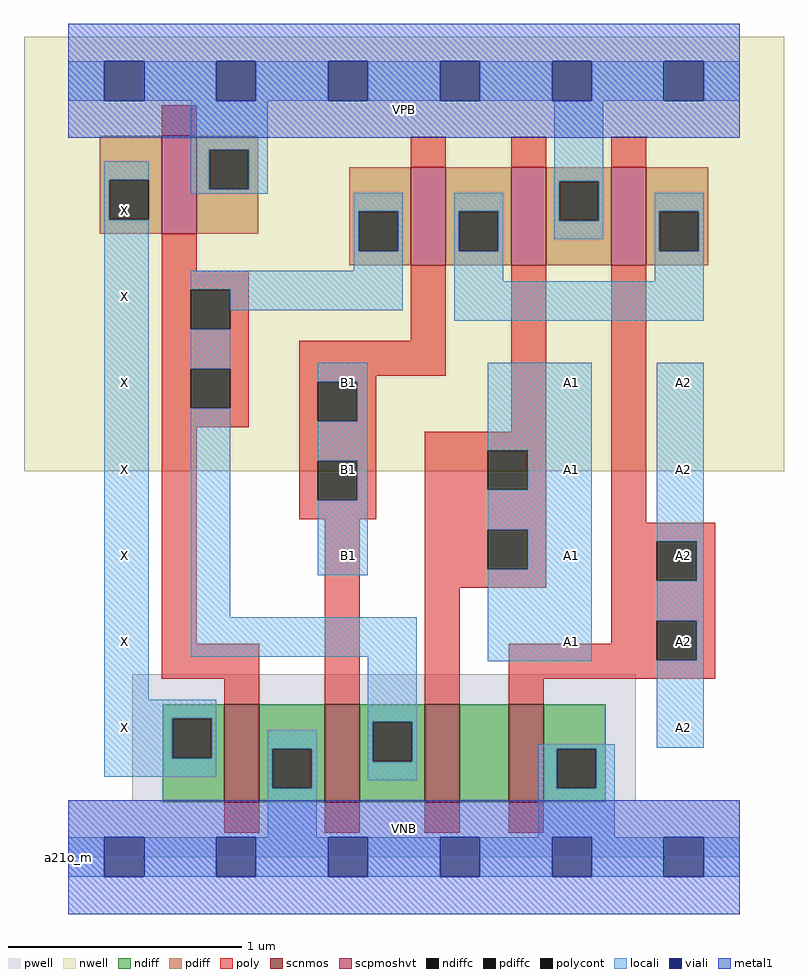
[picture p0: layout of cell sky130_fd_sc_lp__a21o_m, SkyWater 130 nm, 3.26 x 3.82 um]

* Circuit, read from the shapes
.subckt sky130_fd_sc_lp__a21o_m A1 A2 B1 VGND VNB VPB VPWR X
XM1 VGND n1 X VNB sky130_fd_pr__nfet_01v8 w=0.42 l=0.15
XM2 n1 B1 VGND VNB sky130_fd_pr__nfet_01v8 w=0.42 l=0.15
XM3 n2 A1 n1 VNB sky130_fd_pr__nfet_01v8 w=0.42 l=0.15
XM4 VGND A2 n2 VNB sky130_fd_pr__nfet_01v8 w=0.42 l=0.15
XM5 VPWR n1 X VPB sky130_fd_pr__pfet_01v8_hvt w=0.42 l=0.15
XM6 n3 B1 n1 VPB sky130_fd_pr__pfet_01v8_hvt w=0.42 l=0.15
XM7 VPWR A1 n3 VPB sky130_fd_pr__pfet_01v8_hvt w=0.42 l=0.15
XM8 n3 A2 VPWR VPB sky130_fd_pr__pfet_01v8_hvt w=0.42 l=0.15
.ends

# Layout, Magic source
magic
tech sky130A
magscale 1 2
<< nwell >>
rect -38 331 614 704
<< pwell >>
rect 55 49 487 157
rect 0 0 576 49
<< scnmos >>
rect 134 47 164 131
rect 220 47 250 131
rect 306 47 336 131
rect 378 47 408 131
<< scpmoshvt >>
rect 80 535 110 619
rect 294 508 324 592
rect 380 508 410 592
rect 466 508 496 592
<< ndiff >>
rect 81 119 134 131
rect 81 85 89 119
rect 123 85 134 119
rect 81 47 134 85
rect 164 93 220 131
rect 164 59 175 93
rect 209 59 220 93
rect 164 47 220 59
rect 250 116 306 131
rect 250 82 261 116
rect 295 82 306 116
rect 250 47 306 82
rect 336 47 378 131
rect 408 93 461 131
rect 408 59 419 93
rect 453 59 461 93
rect 408 47 461 59
<< pdiff >>
rect 27 581 80 619
rect 27 547 35 581
rect 69 547 80 581
rect 27 535 80 547
rect 110 607 163 619
rect 110 573 121 607
rect 155 573 163 607
rect 110 535 163 573
rect 241 554 294 592
rect 241 520 249 554
rect 283 520 294 554
rect 241 508 294 520
rect 324 554 380 592
rect 324 520 335 554
rect 369 520 380 554
rect 324 508 380 520
rect 410 580 466 592
rect 410 546 421 580
rect 455 546 466 580
rect 410 508 466 546
rect 496 554 549 592
rect 496 520 507 554
rect 541 520 549 554
rect 496 508 549 520
<< ndiffc >>
rect 89 85 123 119
rect 175 59 209 93
rect 261 82 295 116
rect 419 59 453 93
<< pdiffc >>
rect 35 547 69 581
rect 121 573 155 607
rect 249 520 283 554
rect 335 520 369 554
rect 421 546 455 580
rect 507 520 541 554
<< poly >>
rect 80 619 110 645
rect 294 592 324 618
rect 380 592 410 618
rect 466 592 496 618
rect 80 503 110 535
rect 80 487 155 503
rect 80 453 105 487
rect 139 453 155 487
rect 80 419 155 453
rect 294 443 324 508
rect 80 385 105 419
rect 139 385 155 419
rect 80 369 155 385
rect 198 413 324 443
rect 198 408 264 413
rect 198 374 214 408
rect 248 374 264 408
rect 80 183 110 369
rect 198 340 264 374
rect 380 365 410 508
rect 198 306 214 340
rect 248 306 264 340
rect 198 290 264 306
rect 306 349 410 365
rect 306 315 360 349
rect 394 315 410 349
rect 80 153 164 183
rect 134 131 164 153
rect 220 131 250 290
rect 306 281 410 315
rect 306 247 360 281
rect 394 247 410 281
rect 306 231 410 247
rect 466 287 496 508
rect 466 271 555 287
rect 466 237 505 271
rect 539 237 555 271
rect 306 131 336 231
rect 466 203 555 237
rect 466 183 505 203
rect 378 169 505 183
rect 539 169 555 203
rect 378 153 555 169
rect 378 131 408 153
rect 134 21 164 47
rect 220 21 250 47
rect 306 21 336 47
rect 378 21 408 47
<< polycont >>
rect 105 453 139 487
rect 105 385 139 419
rect 214 374 248 408
rect 214 306 248 340
rect 360 315 394 349
rect 360 247 394 281
rect 505 237 539 271
rect 505 169 539 203
<< locali >>
rect 0 649 31 683
rect 65 649 127 683
rect 161 649 223 683
rect 257 649 319 683
rect 353 649 415 683
rect 449 649 511 683
rect 545 649 576 683
rect 105 607 171 649
rect 31 581 69 597
rect 31 547 35 581
rect 105 573 121 607
rect 155 573 171 607
rect 105 569 171 573
rect 417 580 459 649
rect 31 135 69 547
rect 245 554 287 570
rect 245 520 249 554
rect 283 520 287 554
rect 245 503 287 520
rect 105 487 287 503
rect 139 469 287 487
rect 331 554 373 570
rect 331 520 335 554
rect 369 520 373 554
rect 417 546 421 580
rect 455 546 459 580
rect 417 530 459 546
rect 503 554 545 570
rect 331 494 373 520
rect 503 520 507 554
rect 541 520 545 554
rect 503 494 545 520
rect 331 460 545 494
rect 105 419 139 453
rect 105 206 139 385
rect 214 408 257 424
rect 248 374 257 408
rect 214 340 257 374
rect 248 306 257 340
rect 214 242 257 306
rect 360 349 449 424
rect 394 315 449 349
rect 360 281 449 315
rect 394 247 449 281
rect 105 172 299 206
rect 31 119 127 135
rect 31 85 89 119
rect 123 85 127 119
rect 257 116 299 172
rect 360 168 449 247
rect 505 271 545 424
rect 539 237 545 271
rect 505 203 545 237
rect 539 169 545 203
rect 31 69 127 85
rect 171 93 213 109
rect 171 59 175 93
rect 209 59 213 93
rect 257 82 261 116
rect 295 82 299 116
rect 257 66 299 82
rect 403 93 469 97
rect 505 94 545 169
rect 171 17 213 59
rect 403 59 419 93
rect 453 59 469 93
rect 403 17 469 59
rect 0 -17 31 17
rect 65 -17 127 17
rect 161 -17 223 17
rect 257 -17 319 17
rect 353 -17 415 17
rect 449 -17 511 17
rect 545 -17 576 17
<< viali >>
rect 31 649 65 683
rect 127 649 161 683
rect 223 649 257 683
rect 319 649 353 683
rect 415 649 449 683
rect 511 649 545 683
rect 31 -17 65 17
rect 127 -17 161 17
rect 223 -17 257 17
rect 319 -17 353 17
rect 415 -17 449 17
rect 511 -17 545 17
<< metal1 >>
rect 0 683 576 715
rect 0 649 31 683
rect 65 649 127 683
rect 161 649 223 683
rect 257 649 319 683
rect 353 649 415 683
rect 449 649 511 683
rect 545 649 576 683
rect 0 617 576 649
rect 0 17 576 49
rect 0 -17 31 17
rect 65 -17 127 17
rect 161 -17 223 17
rect 257 -17 319 17
rect 353 -17 415 17
rect 449 -17 511 17
rect 545 -17 576 17
rect 0 -49 576 -17
<< labels >>
flabel pwell s 0 0 576 49 0 FreeSans 200 0 0 0 VNB
port 5 nsew ground bidirectional
flabel nwell s 0 617 576 666 0 FreeSans 200 0 0 0 VPB
port 6 nsew power bidirectional
rlabel comment s 0 0 0 0 4 a21o_m
flabel metal1 s 0 617 576 666 0 FreeSans 340 0 0 0 VPWR
port 7 nsew power bidirectional
flabel metal1 s 0 0 576 49 0 FreeSans 340 0 0 0 VGND
port 4 nsew ground bidirectional
flabel locali s 415 168 449 202 0 FreeSans 340 0 0 0 A1
port 1 nsew signal input
flabel locali s 415 242 449 276 0 FreeSans 340 0 0 0 A1
port 1 nsew signal input
flabel locali s 415 316 449 350 0 FreeSans 340 0 0 0 A1
port 1 nsew signal input
flabel locali s 415 390 449 424 0 FreeSans 340 0 0 0 A1
port 1 nsew signal input
flabel locali s 511 94 545 128 0 FreeSans 340 0 0 0 A2
port 2 nsew signal input
flabel locali s 511 168 545 202 0 FreeSans 340 0 0 0 A2
port 2 nsew signal input
flabel locali s 511 242 545 276 0 FreeSans 340 0 0 0 A2
port 2 nsew signal input
flabel locali s 511 316 545 350 0 FreeSans 340 0 0 0 A2
port 2 nsew signal input
flabel locali s 511 390 545 424 0 FreeSans 340 0 0 0 A2
port 2 nsew signal input
flabel locali s 223 242 257 276 0 FreeSans 340 0 0 0 B1
port 3 nsew signal input
flabel locali s 223 316 257 350 0 FreeSans 340 0 0 0 B1
port 3 nsew signal input
flabel locali s 223 390 257 424 0 FreeSans 340 0 0 0 B1
port 3 nsew signal input
flabel locali s 31 94 65 128 0 FreeSans 340 0 0 0 X
port 8 nsew signal output
flabel locali s 31 168 65 202 0 FreeSans 340 0 0 0 X
port 8 nsew signal output
flabel locali s 31 242 65 276 0 FreeSans 340 0 0 0 X
port 8 nsew signal output
flabel locali s 31 316 65 350 0 FreeSans 340 0 0 0 X
port 8 nsew signal output
flabel locali s 31 390 65 424 0 FreeSans 340 0 0 0 X
port 8 nsew signal output
flabel locali s 31 464 65 498 0 FreeSans 340 0 0 0 X
port 8 nsew signal output
flabel locali s 31 538 65 572 0 FreeSans 340 0 0 0 X
port 8 nsew signal output
<< properties >>
string LEFsite unit
string LEFclass CORE
string FIXED_BBOX 0 0 576 666
string GDS_FILE $PDKPATH/libs.ref/sky130_fd_sc_lp/gds/sky130_fd_sc_lp.gds
string LEFsymmetry X Y R90
string GDS_END 2575554
string GDS_START 2568460
<< end >>
